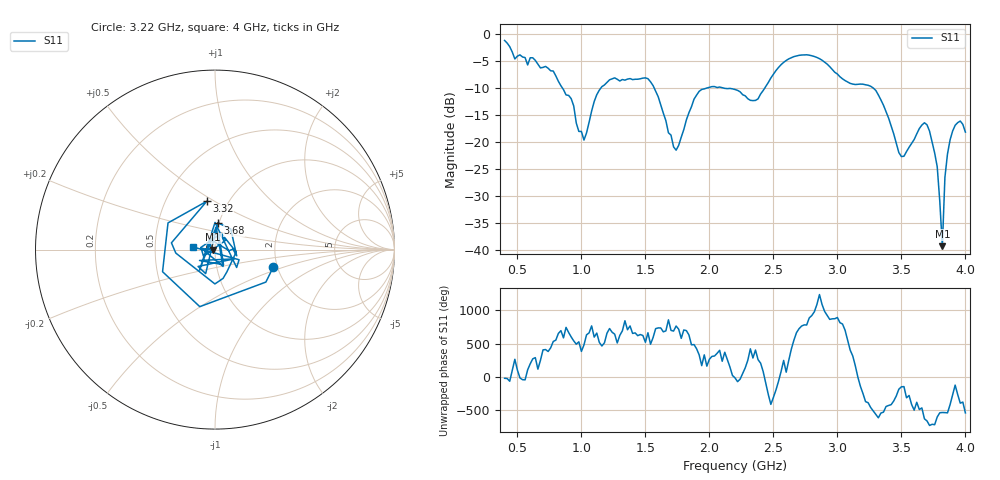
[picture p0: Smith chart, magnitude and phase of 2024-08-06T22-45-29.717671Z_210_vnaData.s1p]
!Created with skrf (http://scikit-rf.org).
# Hz S RI R 50.0
!freq ReS11 ImS11
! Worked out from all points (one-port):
!   181 points, 400 MHz to 4 GHz, reference 50 ohm
!   lowest |S11| = -39.4 dB at 3.82 GHz (marker M1), VSWR 1.02, Z = 48.9 + j0.0123 ohm
!   |S11| at or under -10 dB: 1.569 GHz to 1.978 GHz (408.8 MHz wide, 23.1 % of centre); 2.113 GHz to 2.432 GHz (319.2 MHz wide, 14 % of centre); 3.281 GHz to end of sweep (the widest 3 of 4)
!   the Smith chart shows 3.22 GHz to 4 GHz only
!   S11 on the Smith chart (normalised r, x): 3.22 GHz: 1.91, -0.41; 3.32 GHz: 0.79, +0.46; 3.68 GHz: 0.99, +0.30; 4 GHz: 0.78, +0.02
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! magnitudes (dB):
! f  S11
! 400 MHz  -1.1
! 480 MHz  -4.6
! 780 MHz  -6.8
! 860 MHz  -10.3
! 920 MHz  -11.9
! 1.02 GHz  -19.7
! 1.14 GHz  -10.4
! 1.3 GHz  -8.7
! 1.52 GHz  -8.3
! 1.72 GHz  -20.9
! 1.76 GHz  -20.6
! 1.92 GHz  -10.6
! 2.2 GHz  -10.3
! 2.36 GHz  -12.3
! 2.66 GHz  -4.1
! 2.86 GHz  -4.5
! 3.1 GHz  -9.1
! 3.22 GHz  -9.4
! 3.32 GHz  -11.3
! 3.48 GHz  -22.0
! 3.56 GHz  -21.0
! 3.68 GHz  -16.4
! 3.78 GHz  -24.6
! 3.82 GHz  -39.4
! 3.84 GHz  -26.6
! 3.88 GHz  -19.6
! 3.96 GHz  -16.1
! 4 GHz  -18.2
